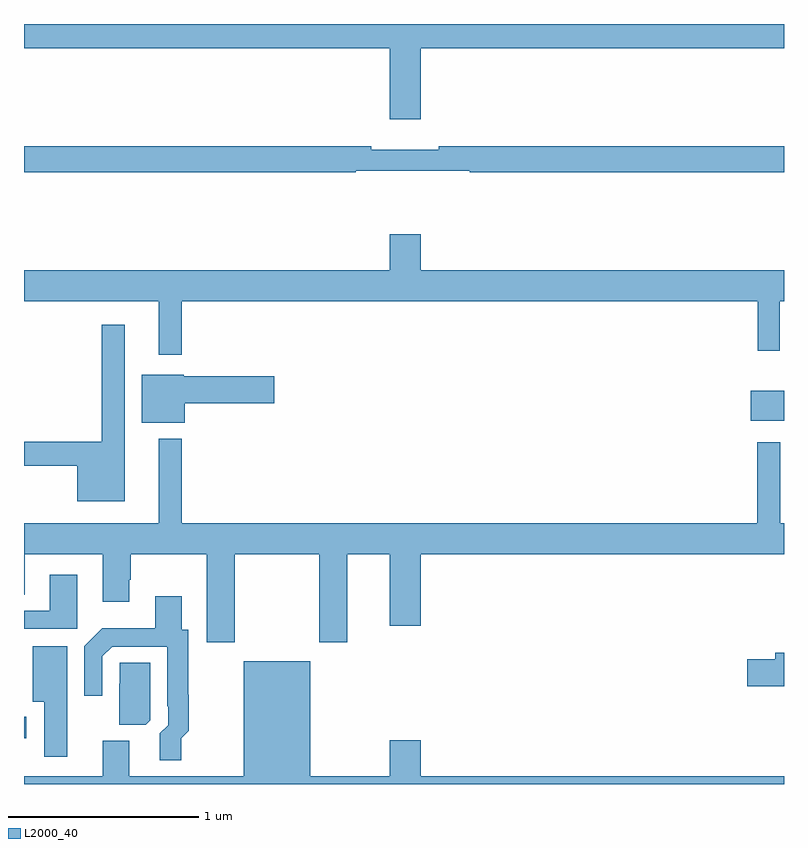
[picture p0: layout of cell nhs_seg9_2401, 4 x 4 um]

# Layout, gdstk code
import gdstk
lib = gdstk.Library(unit=1e-6, precision=1e-09)
def R(c, l, rs):  # rectangles x0, y0, x1, y1
    for r in rs: c.add(gdstk.rectangle(r[:2], r[2:], *l))
def P(c, l, *ps):  # polygons
    for p in ps: c.add(gdstk.Polygon(p, *l))
L2000_40 = (2000, 40)

nhs_seg9_2401 = lib.new_cell('nhs_seg9_2401')
R(nhs_seg9_2401, L2000_40, [(247,1240.74,247.012,1240.853), (250.824,1242.413,251,1242.571)])
P(nhs_seg9_2401, L2000_40, [(249.088,1244.372),(251,1244.372),(251,1244.5),(247,1244.5),(247,1244.372),(248.924,1244.372),(248.924,1243.998),(249.088,1243.998)],
  [(248.745,1243.728),(249.345,1243.728),(249.345,1243.72),(251,1243.72),(251,1243.856),(249.184,1243.856),(249.184,1243.837),(248.828,1243.837),(248.828,1243.856),(247,1243.856),(247,1243.72),(248.745,1243.72)],
  [(247.831,1243.04),(250.861,1243.04),(250.861,1242.78),(250.977,1242.78),(250.977,1243.04),(251,1243.04),(251,1243.204),(249.088,1243.204),(249.088,1243.393),(248.924,1243.393),(248.924,1243.204),(247,1243.204),(247,1243.04),(247.709,1243.04),(247.709,1242.759),(247.831,1242.759)],
  [(247.531,1242.916),(247.41,1242.916),(247.41,1242.302),(247,1242.302),(247,1242.174),(247.28,1242.174),(247.28,1241.987),(247.531,1241.987)],
  [(247.846,1242.503),(248.317,1242.503),(248.317,1242.645),(247.842,1242.645),(247.842,1242.655),(247.619,1242.655),(247.619,1242.401),(247.846,1242.401)],
  [(248.109,1241.708),(248.554,1241.708),(248.554,1241.247),(248.701,1241.247),(248.701,1241.708),(248.924,1241.708),(248.924,1241.334),(249.088,1241.334),(249.088,1241.708),(251,1241.708),(251,1241.872),(250.981,1241.872),(250.981,1242.298),(250.859,1242.298),(250.859,1241.872),(247.831,1241.872),(247.831,1242.316),(247.709,1242.316),(247.709,1241.872),(247,1241.872),(247,1241.497),(247.003,1241.497),(247.003,1241.708),(247.415,1241.708),(247.415,1241.46),(247.555,1241.46),(247.555,1241.575),(247.563,1241.575),(247.563,1241.708),(247.961,1241.708),(247.961,1241.247),(248.109,1241.247)],
  [(247.279,1241.602),(247.136,1241.602),(247.136,1241.412),(247,1241.412),(247,1241.316),(247.279,1241.316)],
  [(247.828,1240.742),(247.866,1240.78),(247.866,1240.97),(247.864,1240.97),(247.864,1241.313),(247.831,1241.313),(247.831,1241.488),(247.691,1241.488),(247.691,1241.32),(247.411,1241.32),(247.317,1241.226),(247.317,1240.965),(247.413,1240.965),(247.413,1241.172),(247.464,1241.223),(247.755,1241.223),(247.755,1240.909),(247.758,1240.909),(247.758,1240.809),(247.715,1240.766),(247.715,1240.626),(247.828,1240.626)],
  [(247.228,1241.224),(247.046,1241.224),(247.046,1240.934),(247.106,1240.934),(247.106,1240.644),(247.228,1240.644)],
  [(251,1241.192),(250.955,1241.192),(250.955,1241.156),(250.806,1241.156),(250.806,1241.014),(251,1241.014)],
  [(251,1240.54),(249.088,1240.54),(249.088,1240.729),(248.924,1240.729),(248.924,1240.54),(248.506,1240.54),(248.506,1241.146),(248.156,1241.146),(248.156,1240.54),(247.555,1240.54),(247.555,1240.728),(247.415,1240.728),(247.415,1240.54),(247,1240.54),(247,1240.5),(251,1240.5)],
  [(247.665,1240.836),(247.665,1241.138),(247.503,1241.138),(247.503,1241.027),(247.502,1241.027),(247.502,1240.813),(247.641,1240.813)])

lib.write_gds('nhs_seg9_2401.gds')
